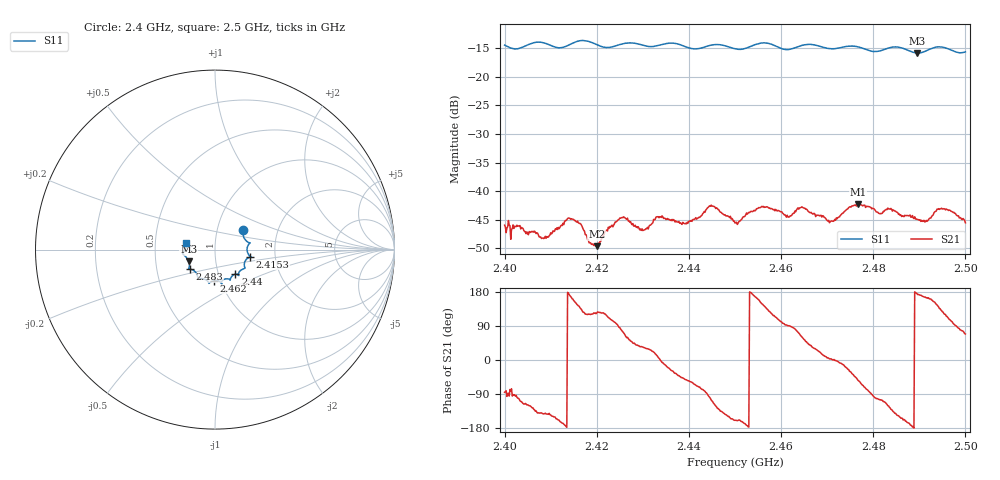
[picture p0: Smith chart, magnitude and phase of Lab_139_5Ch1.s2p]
# Hz S RI R 50
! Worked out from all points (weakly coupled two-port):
!   601 points, 2.4 GHz to 2.5 GHz, reference 50 ohm
!   highest |S21| = -42.31 dB at 2.4767 GHz (marker M1); lowest = -49.6 dB at 2.42 GHz (marker M2)
!   lowest |S11| = -15.9 dB at 2.4895 GHz (marker M3), VSWR 1.38, Z = 36.9 - j4.99 ohm
!   |S11| at or under -10 dB: start of sweep to end of sweep
!   S12 and S22 are empty: the file has one direction only
!   S11 on the Smith chart (normalised r, x): 2.4 GHz: 1.33, +0.29; 2.4153 GHz: 1.48, -0.12; 2.44 GHz: 1.20, -0.34; 2.462 GHz: 0.93, -0.33; 2.483 GHz: 0.74, -0.17; 2.5 GHz: 0.72, +0.06
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2.4e9  0.1552 0.1064  0.000428 -0.00503  0 0  0 0
2.4085e9  0.1938 0.0361  -0.00305 -0.00236  0 0  0 0
2.415333e9  0.1963 -0.0386  -0.0049 0.0026  0 0  0 0
2.416667e9  0.202 -0.0426  -0.00349 0.00367  0 0  0 0
2.42e9  0.1846 -0.0461  -0.00184 0.00276  0 0  0 0
2.425333e9  0.1653 -0.0977  0.00109 0.00576  0 0  0 0
2.429833e9  0.1545 -0.1087  0.00385 0.00268  0 0  0 0
2.433333e9  0.1312 -0.1335  0.00595 0.000712  0 0  0 0
2.44e9  0.1141 -0.1368  0.00315 -0.00445  0 0  0 0
2.445e9  0.0846 -0.1687  -0.00228 -0.00704  0 0  0 0
2.45e9  0.0647 -0.1627  -0.00493 -0.00187  0 0  0 0
2.455667e9  0.0376 -0.1926  -0.00632 0.00359  0 0  0 0
2.462e9  -0.00511 -0.1732  9.28e-05 0.00609  0 0  0 0
2.464167e9  -0.0282 -0.1832  0.00295 0.00653  0 0  0 0
2.466667e9  -0.0342 -0.1876  0.00527 0.00369  0 0  0 0
2.471e9  -0.0583 -0.1649  0.0055 0.000171  0 0  0 0
2.476667e9  -0.0954 -0.1548  0.00458 -0.00614  0 0  0 0
2.483e9  -0.1375 -0.1096  -0.00319 -0.00613  0 0  0 0
2.483333e9  -0.1401 -0.1095  -0.00365 -0.00599  0 0  0 0
2.4895e9  -0.1464 -0.0658  -0.00564 0.00049  0 0  0 0
2.495e9  -0.1799 -0.0197  -0.00423 0.00558  0 0  0 0
2.5e9  -0.1598 0.0391  0.00193 0.00493  0 0  0 0
